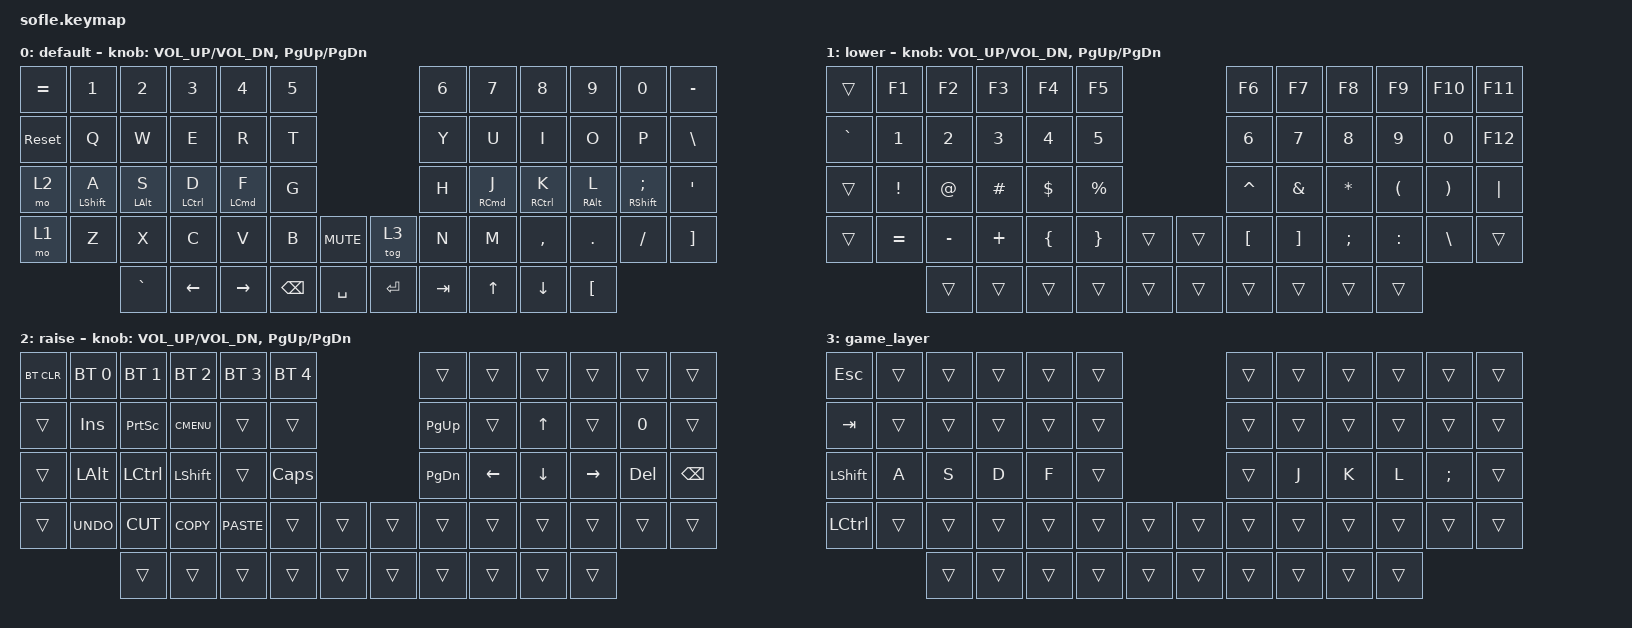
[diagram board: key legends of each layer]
/*
 * Copyright (c) 2020 The ZMK Contributors
 *
 * SPDX-License-Identifier: MIT
 */

#include <behaviors.dtsi>
#include <dt-bindings/zmk/bt.h>
#include <dt-bindings/zmk/keys.h>

#define BASE 0
#define LOWER 1
#define RAISE 2
#define ADJUST 3

/ {
    // Activate ADJUST layer by pressing raise and lower

    conditional_layers { compatible = "zmk,conditional-layers"; };

    keymap {
        compatible = "zmk,keymap";

        default_layer {
            display-name = "default";

            // ------------------------------------------------------------------------------------------------------------
            // |   `   |  1  |  2  |  3   |  4   |  5   |                   |  6   |  7    |  8    |  9   |   0   |       |
            // |  ESC  |  Q  |  W  |  E   |  R   |  T   |                   |  Y   |  U    |  I    |  O   |   P   | BKSPC |
            // |  TAB  |  A  |  S  |  D   |  F   |  G   |                   |  H   |  J    |  K    |  L   |   ;   |   '   |
            // | SHIFT |  Z  |  X  |  C   |  V   |  B   |  MUTE  |  |       |  N   |  M    |  ,    |  .   |   /   | SHIFT |
            //               | GUI | ALT  | CTRL | LOWER|  ENTER |  | SPACE | RAISE| CTRL  | ALT   | GUI  |

            bindings = <
&kp EQUAL   &kp N1            &kp N2          &kp N3              &kp N4              &kp N5                                  &kp N6   &kp N7               &kp N8               &kp N9            &kp N0                     &kp MINUS
&sys_reset  &kp Q             &kp W           &kp E               &kp R               &kp T                                   &kp Y    &kp U                &kp I                &kp O             &kp P                      &kp BACKSLASH
&mo 2       &mt LEFT_SHIFT A  &mt LEFT_ALT S  &mt LEFT_CONTROL D  &mt LEFT_COMMAND F  &kp G                                   &kp H    &mt RIGHT_COMMAND J  &mt RIGHT_CONTROL K  &mt RIGHT_ALT L   &mt RIGHT_SHIFT SEMICOLON  &kp SINGLE_QUOTE
&mo 1       &kp Z             &kp X           &kp C               &kp V               &kp B          &kp C_MUTE    &tog 3     &kp N    &kp M                &kp COMMA            &kp DOT           &kp FSLH                   &kp RIGHT_BRACKET
                              &kp GRAVE       &kp LEFT_ARROW      &kp RIGHT_ARROW     &kp BACKSPACE  &kp SPACE     &kp ENTER  &kp TAB  &kp UP               &kp DOWN_ARROW       &kp LEFT_BRACKET
            >;

            sensor-bindings = <&inc_dec_kp C_VOL_UP C_VOL_DN &inc_dec_kp PG_UP PG_DN>;
        };

        lower_layer {
            display-name = "lower";

            // TODO: Some binds are waiting for shifted keycode support.
            // ------------------------------------------------------------------------------------------------------------
            // |       |  F1 |  F2 |  F3  |  F4  |  F5  |                   |  F6  |  F7   |  F8   |  F9  |  F10  |  F11  |
            // |   `   |  1  |  2  |  3   |  4   |  5   |                   |  6   |  7    |  8    |  9   |   0   |  F12  |
            // |       |  !  |  @  |  #   |  $   |  %   |                   |  ^   |  &    |  *    |  (   |   )   |   |   |
            // |       |  =  |  -  |  +   |  {   |  }   |        |  |       |  [   |  ]    |  ;    |  :   |   \   |       |
            //               |     |      |      |      |        |  |       |      |       |       |      |

            bindings = <
&trans     &kp F1     &kp F2     &kp F3    &kp F4    &kp F5                       &kp F6     &kp F7    &kp F8     &kp F9     &kp F10   &kp F11
&kp GRAVE  &kp N1     &kp N2     &kp N3    &kp N4    &kp N5                       &kp N6     &kp N7    &kp N8     &kp N9     &kp N0    &kp F12
&trans     &kp EXCL   &kp AT     &kp HASH  &kp DLLR  &kp PRCNT                    &kp CARET  &kp AMPS  &kp ASTRK  &kp LPAR   &kp RPAR  &kp PIPE
&trans     &kp EQUAL  &kp MINUS  &kp PLUS  &kp LBRC  &kp RBRC   &trans    &trans  &kp LBKT   &kp RBKT  &kp SEMI   &kp COLON  &kp BSLH  &trans
                      &trans     &trans    &trans    &trans     &trans    &trans  &trans     &trans    &trans     &trans
            >;

            sensor-bindings = <&inc_dec_kp C_VOL_UP C_VOL_DN &inc_dec_kp PG_UP PG_DN>;
        };

        raise_layer {
            display-name = "raise";

            // ------------------------------------------------------------------------------------------------------------
            // | BTCLR | BT1  | BT2  |  BT3  |  BT4  |  BT5 |                |      |      |       |      |       |       |
            // |       | INS  | PSCR | GUI   |       |      |                | PGUP |      |   ^   |      |       |       |
            // |       | ALT  | CTRL | SHIFT |       | CAPS |                | PGDN |   <- |   v   |  ->  |  DEL  | BKSPC |
            // |       | UNDO | CUT  | COPY  | PASTE |      |      |  |      |      |      |       |      |       |       |
            //                |      |       |       |      |      |  |      |      |      |       |      |

            bindings = <
&bt BT_CLR  &bt BT_SEL 0  &bt BT_SEL 1  &bt BT_SEL 2  &bt BT_SEL 3  &bt BT_SEL 4                    &trans     &trans    &trans    &trans     &trans   &trans
&trans      &kp INS       &kp PSCRN     &kp K_CMENU   &trans        &trans                          &kp PG_UP  &trans    &kp UP    &trans     &kp N0   &trans
&trans      &kp LALT      &kp LCTRL     &kp LSHFT     &trans        &kp CLCK                        &kp PG_DN  &kp LEFT  &kp DOWN  &kp RIGHT  &kp DEL  &kp BSPC
&trans      &kp K_UNDO    &kp K_CUT     &kp K_COPY    &kp K_PASTE   &trans        &trans    &trans  &trans     &trans    &trans    &trans     &trans   &trans
                          &trans        &trans        &trans        &trans        &trans    &trans  &trans     &trans    &trans    &trans
            >;

            sensor-bindings = <&inc_dec_kp C_VOL_UP C_VOL_DN &inc_dec_kp PG_UP PG_DN>;
        };

        game_layer {
            bindings = <
&kp ESCAPE      &trans  &trans  &trans  &trans  &trans                    &trans  &trans  &trans  &trans  &trans         &trans
&kp TAB         &trans  &trans  &trans  &trans  &trans                    &trans  &trans  &trans  &trans  &trans         &trans
&kp LEFT_SHIFT  &kp A   &kp S   &kp D   &kp F   &trans                    &trans  &kp J   &kp K   &kp L   &kp SEMICOLON  &trans
&kp LCTRL       &trans  &trans  &trans  &trans  &trans  &trans    &trans  &trans  &trans  &trans  &trans  &trans         &trans
                        &trans  &trans  &trans  &trans  &trans    &trans  &trans  &trans  &trans  &trans
            >;
        };
    };
};
